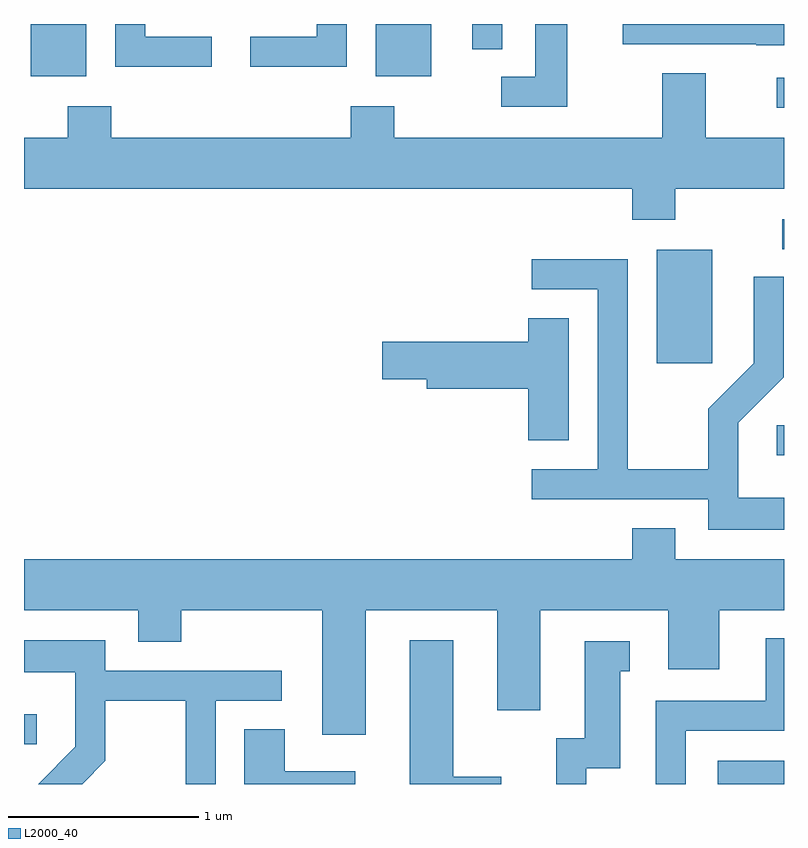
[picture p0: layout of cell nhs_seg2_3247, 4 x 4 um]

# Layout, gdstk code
import gdstk
lib = gdstk.Library(unit=1e-6, precision=1e-09)
def R(c, l, rs):  # rectangles x0, y0, x1, y1
    for r in rs: c.add(gdstk.rectangle(r[:2], r[2:], *l))
def P(c, l, *ps):  # polygons
    for p in ps: c.add(gdstk.Polygon(p, *l))
L2000_40 = (2000, 40)

nhs_seg2_3247 = lib.new_cell('nhs_seg2_3247')
R(nhs_seg2_3247, L2000_40, [(283.261,1091.802,283.611,1091.924), (279.611,1092.011,279.678,1092.169), (283.573,1093.531,283.611,1093.689), (282.941,1094.016,283.234,1094.614), (283.603,1094.616,283.611,1094.774), (283.573,1095.361,283.611,1095.519), (279.646,1095.526,279.939,1095.802), (281.461,1095.526,281.754,1095.802), (281.971,1095.668,282.129,1095.802)])
P(nhs_seg2_3247, L2000_40, [(283.611,1095.802),(282.761,1095.802),(282.761,1095.696),(283.465,1095.696),(283.465,1095.691),(283.611,1095.691)],
  [(281.309,1095.802),(281.151,1095.802),(281.151,1095.734),(280.803,1095.734),(280.803,1095.576),(281.309,1095.576)],
  [(280.598,1095.734),(280.249,1095.734),(280.249,1095.802),(280.091,1095.802),(280.091,1095.576),(280.598,1095.576)],
  [(282.469,1095.802),(282.301,1095.802),(282.301,1095.524),(282.123,1095.524),(282.123,1095.366),(282.469,1095.366)],
  [(282.971,1095.204),(281.559,1095.204),(281.559,1095.369),(281.331,1095.369),(281.331,1095.204),(280.069,1095.204),(280.069,1095.369),(279.841,1095.369),(279.841,1095.204),(279.611,1095.204),(279.611,1094.936),(282.811,1094.936),(282.811,1094.771),(283.039,1094.771),(283.039,1094.936),(283.611,1094.936),(283.611,1095.204),(283.199,1095.204),(283.199,1095.544),(282.971,1095.544)],
  [(283.611,1093.309),(283.369,1093.309),(283.369,1093.704),(283.609,1093.944),(283.609,1094.473),(283.451,1094.473),(283.451,1094.017),(283.211,1093.777),(283.211,1093.459),(282.789,1093.459),(282.789,1094.564),(282.283,1094.564),(282.283,1094.406),(282.631,1094.406),(282.631,1093.459),(282.283,1093.459),(282.283,1093.301),(283.211,1093.301),(283.211,1093.141),(283.611,1093.141)],
  [(282.479,1094.254),(282.266,1094.254),(282.266,1094.129),(281.496,1094.129),(281.496,1093.931),(281.731,1093.931),(281.731,1093.881),(282.266,1093.881),(282.266,1093.611),(282.479,1093.611)],
  [(281.409,1092.716),(282.101,1092.716),(282.101,1092.191),(282.329,1092.191),(282.329,1092.716),(283.001,1092.716),(283.001,1092.406),(283.269,1092.406),(283.269,1092.716),(283.611,1092.716),(283.611,1092.984),(283.039,1092.984),(283.039,1093.149),(282.811,1093.149),(282.811,1092.984),(279.611,1092.984),(279.611,1092.716),(280.211,1092.716),(280.211,1092.551),(280.439,1092.551),(280.439,1092.716),(281.181,1092.716),(281.181,1092.061),(281.409,1092.061)],
  [(283.094,1092.081),(283.611,1092.081),(283.611,1092.568),(283.516,1092.568),(283.516,1092.239),(282.936,1092.239),(282.936,1091.802),(283.094,1091.802)],
  [(280.039,1091.924),(280.039,1092.241),(280.461,1092.241),(280.461,1091.802),(280.619,1091.802),(280.619,1092.241),(280.968,1092.241),(280.968,1092.399),(280.039,1092.399),(280.039,1092.559),(279.611,1092.559),(279.611,1092.391),(279.881,1092.391),(279.881,1091.997),(279.686,1091.802),(279.917,1091.802)],
  [(282.124,1091.839),(281.869,1091.839),(281.869,1092.559),(281.641,1092.559),(281.641,1091.802),(282.124,1091.802)],
  [(282.569,1091.886),(282.749,1091.886),(282.749,1092.396),(282.798,1092.396),(282.798,1092.554),(282.561,1092.554),(282.561,1092.044),(282.411,1092.044),(282.411,1091.802),(282.569,1091.802)],
  [(281.354,1091.869),(280.984,1091.869),(280.984,1092.089),(280.771,1092.089),(280.771,1091.802),(281.354,1091.802)])

lib.write_gds('nhs_seg2_3247.gds')
